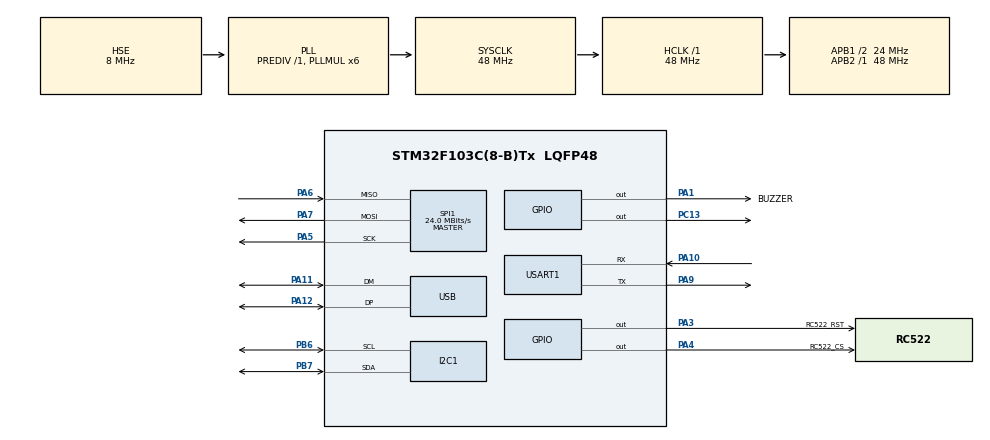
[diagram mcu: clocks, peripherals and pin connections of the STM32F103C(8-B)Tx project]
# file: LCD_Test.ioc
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Mcu.Family=STM32F1
Mcu.Name=STM32F103C(8-B)Tx
Mcu.Package=LQFP48
NVIC.PriorityGroup=NVIC_PRIORITYGROUP_4
NVIC.USB_LP_CAN1_RX0_IRQn=true\:0\:0\:false\:false\:true\:false\:true\:true
PA1.GPIO_Label=BUZZER
PA1.Signal=GPIO_Output
PA10.Mode=Asynchronous
PA10.Signal=USART1_RX
PA11.Mode=Device
PA11.Signal=USB_DM
PA12.Mode=Device
PA12.Signal=USB_DP
PA13.Mode=Serial_Wire
PA13.Signal=SYS_JTMS-SWDIO
PA14.Mode=Serial_Wire
PA14.Signal=SYS_JTCK-SWCLK
PA3.GPIO_Label=RC522_RST
PA3.Signal=GPIO_Output
PA4.GPIO_Label=RC522_CS
PA4.Signal=GPIO_Output
PA5.Mode=Full_Duplex_Master
PA5.Signal=SPI1_SCK
PA6.Mode=Full_Duplex_Master
PA6.Signal=SPI1_MISO
PA7.Mode=Full_Duplex_Master
PA7.Signal=SPI1_MOSI
PA9.Mode=Asynchronous
PA9.Signal=USART1_TX
PB6.Mode=I2C
PB6.Signal=I2C1_SCL
PB7.Mode=I2C
PB7.Signal=I2C1_SDA
PC13-TAMPER-RTC.Signal=GPIO_Output
PD0-OSC_IN.Mode=HSE-External-Oscillator
PD0-OSC_IN.Signal=RCC_OSC_IN
PD1-OSC_OUT.Mode=HSE-External-Oscillator
PD1-OSC_OUT.Signal=RCC_OSC_OUT
ProjectManager.HeapSize=0x200
ProjectManager.StackSize=0x400
ProjectManager.TargetToolchain=MDK-ARM V5.32
RCC.AHBFreq_Value=48000000
RCC.APB1CLKDivider=RCC_HCLK_DIV2
RCC.APB1Freq_Value=24000000
RCC.APB1TimFreq_Value=48000000
RCC.APB2Freq_Value=48000000
RCC.APB2TimFreq_Value=48000000
RCC.HCLKFreq_Value=48000000
RCC.PLLMUL=RCC_PLL_MUL6
RCC.SYSCLKFreq_VALUE=48000000
RCC.SYSCLKSource=RCC_SYSCLKSOURCE_PLLCLK
RCC.USBFreq_Value=48000000
SPI1.BaudRatePrescaler=SPI_BAUDRATEPRESCALER_2
SPI1.CalculateBaudRate=24.0 MBits/s
SPI1.Direction=SPI_DIRECTION_2LINES
SPI1.Mode=SPI_MODE_MASTER
SPI1.VirtualType=VM_MASTER
USART1.VirtualMode=VM_ASYNC
USB_DEVICE.CLASS_NAME_FS=CDC
USB_DEVICE.VirtualMode=Cdc
USB_DEVICE.VirtualModeFS=Cdc_FS
VP_USB_DEVICE_VS_USB_DEVICE_CDC_FS.Mode=CDC_FS
board=custom

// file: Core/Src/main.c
/* USER CODE BEGIN Header */
/**
  ******************************************************************************
  * @file           : main.c
  * @brief          : Main program body
  ******************************************************************************
  * @attention
  *
  * Copyright (c) 2026 STMicroelectronics.
  * All rights reserved.
  *
  * This software is licensed under terms that can be found in the LICENSE file
  * in the root directory of this software component.
  * If no LICENSE file comes with this software, it is provided AS-IS.
  *
  ******************************************************************************
  */
/* USER CODE END Header */
#include "main.h"
#include "usb_device.h"

/* USER CODE BEGIN Includes */
#include "i2c-lcd.h"
#include "rc522.h"
#include "stdio.h"
#include "string.h"
/* USER CODE END Includes */

I2C_HandleTypeDef hi2c1;

SPI_HandleTypeDef hspi1;

UART_HandleTypeDef huart1;

/* USER CODE BEGIN PV */
uint8_t CardID[5];
char szBuff[32];
/* USER CODE END PV */

void SystemClock_Config(void);
static void MX_GPIO_Init(void);
static void MX_I2C1_Init(void);
static void MX_SPI1_Init(void);
static void MX_USART1_UART_Init(void);

int main(void)
{

  /* MCU Configuration--------------------------------------------------------*/

  /* Reset of all peripherals, Initializes the Flash interface and the Systick. */
  HAL_Init();

  /* Configure the system clock */
  SystemClock_Config();

  /* Initialize all configured peripherals */
  MX_GPIO_Init();
  MX_I2C1_Init();
  MX_SPI1_Init();
  MX_USB_DEVICE_Init();
  MX_USART1_UART_Init();
  /* USER CODE BEGIN 2 */
  lcd_init();
  lcd_put_cur(0, 0);
  lcd_send_string("   HELLO BAO!   ");
  lcd_put_cur(1, 0);
  lcd_send_string(" Khoi dong OK.  ");

  // Phat ra 2 tieng bip bao hieu khoi dong thanh cong
  HAL_GPIO_WritePin(BUZZER_GPIO_Port, BUZZER_Pin, GPIO_PIN_SET); // Bat coi
  HAL_Delay(100);
  HAL_GPIO_WritePin(BUZZER_GPIO_Port, BUZZER_Pin, GPIO_PIN_RESET); // Tat coi
  HAL_Delay(100);
  HAL_GPIO_WritePin(BUZZER_GPIO_Port, BUZZER_Pin, GPIO_PIN_SET);
  HAL_Delay(100);
  HAL_GPIO_WritePin(BUZZER_GPIO_Port, BUZZER_Pin, GPIO_PIN_RESET);

  HAL_Delay(1000);
  lcd_clear();

  MFRC522_Init();

  // Test xem STM32 co doc duoc the RC522 khong
  uint8_t rc522_ver = MFRC522_ReadRegister(0x37); // Doc thanh ghi Version
  char verStr[16];
  sprintf(verStr, "RFID Ver: 0x%02X", rc522_ver);
  lcd_clear();
  lcd_put_cur(0, 0);
  lcd_send_string(verStr);
  HAL_Delay(3000); // Dung hinh 3 giay de user doc duoc
  /* USER CODE END 2 */

  /* Infinite loop */
  while (1)
  {

    /* USER CODE BEGIN 3 */
    HAL_GPIO_TogglePin(GPIOC, GPIO_PIN_13);

    if (MFRC522_Check(CardID) == MI_OK) {
        // Phat hien the! Chuan bi chuoi UID
        sprintf(szBuff, "ID: %02X%02X%02X%02X", CardID[0], CardID[1], CardID[2], CardID[3]);

        // Hien thi ma the len LCD
        lcd_clear();
        lcd_put_cur(0, 0);
        lcd_send_string(" DA NHAN MA THE ");
        lcd_put_cur(1, 2);
        lcd_send_string(szBuff);

        // Chi ban dung ma the (UID) qua UART, de Web Dev tu kiem tra Database
        char uartBuf[32];
        sprintf(uartBuf, "UID:%02X%02X%02X%02X\n", CardID[0], CardID[1], CardID[2], CardID[3]);
        HAL_UART_Transmit(&huart1, (uint8_t*)uartBuf, strlen(uartBuf), 100);

        // Coi keu 1 tieng ngan de bao hieu da doc the thanh cong
        HAL_GPIO_WritePin(BUZZER_GPIO_Port, BUZZER_Pin, GPIO_PIN_SET);
        HAL_Delay(200);
        HAL_GPIO_WritePin(BUZZER_GPIO_Port, BUZZER_Pin, GPIO_PIN_RESET);

        // Dung hinh 2 giay roi moi xoa man hinh
        HAL_Delay(2000);
        lcd_clear();
    } else {
        // Binh thuong khong co the thi hien thi man hinh cho
        lcd_put_cur(0, 0);
        lcd_send_string("  MOI QUET THE  ");
        lcd_put_cur(1, 0);
        lcd_send_string(" Dang cho...    ");
        HAL_Delay(100); // Kiem tra the lien tuc moi 100ms
    }
  }
  /* USER CODE END 3 */
}

void SystemClock_Config(void)
{
  RCC_OscInitTypeDef RCC_OscInitStruct = {0};
  RCC_ClkInitTypeDef RCC_ClkInitStruct = {0};
  RCC_PeriphCLKInitTypeDef PeriphClkInit = {0};

  /** Initializes the RCC Oscillators according to the specified parameters
  * in the RCC_OscInitTypeDef structure.
  */
  RCC_OscInitStruct.OscillatorType = RCC_OSCILLATORTYPE_HSE;
  RCC_OscInitStruct.HSEState = RCC_HSE_ON;
  RCC_OscInitStruct.HSEPredivValue = RCC_HSE_PREDIV_DIV1;
  RCC_OscInitStruct.HSIState = RCC_HSI_ON;
  RCC_OscInitStruct.PLL.PLLState = RCC_PLL_ON;
  RCC_OscInitStruct.PLL.PLLSource = RCC_PLLSOURCE_HSE;
  RCC_OscInitStruct.PLL.PLLMUL = RCC_PLL_MUL6;
  if (HAL_RCC_OscConfig(&RCC_OscInitStruct) != HAL_OK)
  {
    Error_Handler();
  }

  /** Initializes the CPU, AHB and APB buses clocks
  */
  RCC_ClkInitStruct.ClockType = RCC_CLOCKTYPE_HCLK|RCC_CLOCKTYPE_SYSCLK
                              |RCC_CLOCKTYPE_PCLK1|RCC_CLOCKTYPE_PCLK2;
  RCC_ClkInitStruct.SYSCLKSource = RCC_SYSCLKSOURCE_PLLCLK;
  RCC_ClkInitStruct.AHBCLKDivider = RCC_SYSCLK_DIV1;
  RCC_ClkInitStruct.APB1CLKDivider = RCC_HCLK_DIV2;
  RCC_ClkInitStruct.APB2CLKDivider = RCC_HCLK_DIV1;

  if (HAL_RCC_ClockConfig(&RCC_ClkInitStruct, FLASH_LATENCY_1) != HAL_OK)
  {
    Error_Handler();
  }
  PeriphClkInit.PeriphClockSelection = RCC_PERIPHCLK_USB;
  PeriphClkInit.UsbClockSelection = RCC_USBCLKSOURCE_PLL;
  if (HAL_RCCEx_PeriphCLKConfig(&PeriphClkInit) != HAL_OK)
  {
    Error_Handler();
  }
}

static void MX_I2C1_Init(void)
{

  hi2c1.Instance = I2C1;
  hi2c1.Init.ClockSpeed = 100000;
  hi2c1.Init.DutyCycle = I2C_DUTYCYCLE_2;
  hi2c1.Init.OwnAddress1 = 0;
  hi2c1.Init.AddressingMode = I2C_ADDRESSINGMODE_7BIT;
  hi2c1.Init.DualAddressMode = I2C_DUALADDRESS_DISABLE;
  hi2c1.Init.OwnAddress2 = 0;
  hi2c1.Init.GeneralCallMode = I2C_GENERALCALL_DISABLE;
  hi2c1.Init.NoStretchMode = I2C_NOSTRETCH_DISABLE;
  if (HAL_I2C_Init(&hi2c1) != HAL_OK)
  {
    Error_Handler();
  }

}

static void MX_SPI1_Init(void)
{

  /* SPI1 parameter configuration*/
  hspi1.Instance = SPI1;
  hspi1.Init.Mode = SPI_MODE_MASTER;
  hspi1.Init.Direction = SPI_DIRECTION_2LINES;
  hspi1.Init.DataSize = SPI_DATASIZE_8BIT;
  hspi1.Init.CLKPolarity = SPI_POLARITY_LOW;
  hspi1.Init.CLKPhase = SPI_PHASE_1EDGE;
  hspi1.Init.NSS = SPI_NSS_SOFT;
  hspi1.Init.BaudRatePrescaler = SPI_BAUDRATEPRESCALER_16;
  hspi1.Init.FirstBit = SPI_FIRSTBIT_MSB;
  hspi1.Init.TIMode = SPI_TIMODE_DISABLE;
  hspi1.Init.CRCCalculation = SPI_CRCCALCULATION_DISABLE;
  hspi1.Init.CRCPolynomial = 10;
  if (HAL_SPI_Init(&hspi1) != HAL_OK)
  {
    Error_Handler();
  }

}

static void MX_USART1_UART_Init(void)
{

  huart1.Instance = USART1;
  huart1.Init.BaudRate = 115200;
  huart1.Init.WordLength = UART_WORDLENGTH_8B;
  huart1.Init.StopBits = UART_STOPBITS_1;
  huart1.Init.Parity = UART_PARITY_NONE;
  huart1.Init.Mode = UART_MODE_TX_RX;
  huart1.Init.HwFlowCtl = UART_HWCONTROL_NONE;
  huart1.Init.OverSampling = UART_OVERSAMPLING_16;
  if (HAL_UART_Init(&huart1) != HAL_OK)
  {
    Error_Handler();
  }

}

static void MX_GPIO_Init(void)
{
  GPIO_InitTypeDef GPIO_InitStruct = {0};

  /* GPIO Ports Clock Enable */
  __HAL_RCC_GPIOC_CLK_ENABLE();
  __HAL_RCC_GPIOD_CLK_ENABLE();
  __HAL_RCC_GPIOA_CLK_ENABLE();
  __HAL_RCC_GPIOB_CLK_ENABLE();

  /*Configure GPIO pin Output Level */
  HAL_GPIO_WritePin(GPIOC, GPIO_PIN_13, GPIO_PIN_RESET);

  /*Configure GPIO pin Output Level */
  HAL_GPIO_WritePin(GPIOA, BUZZER_Pin|RC522_RST_Pin|RC522_CS_Pin, GPIO_PIN_RESET);

  /*Configure GPIO pin : PC13 */
  GPIO_InitStruct.Pin = GPIO_PIN_13;
  GPIO_InitStruct.Mode = GPIO_MODE_OUTPUT_PP;
  GPIO_InitStruct.Pull = GPIO_NOPULL;
  GPIO_InitStruct.Speed = GPIO_SPEED_FREQ_LOW;
  HAL_GPIO_Init(GPIOC, &GPIO_InitStruct);

  /*Configure GPIO pins : BUZZER_Pin RC522_RST_Pin RC522_CS_Pin */
  GPIO_InitStruct.Pin = BUZZER_Pin|RC522_RST_Pin|RC522_CS_Pin;
  GPIO_InitStruct.Mode = GPIO_MODE_OUTPUT_PP;
  GPIO_InitStruct.Pull = GPIO_NOPULL;
  GPIO_InitStruct.Speed = GPIO_SPEED_FREQ_LOW;
  HAL_GPIO_Init(GPIOA, &GPIO_InitStruct);

}

void Error_Handler(void)
{
  __disable_irq();
  while (1)
  {
  }
}
